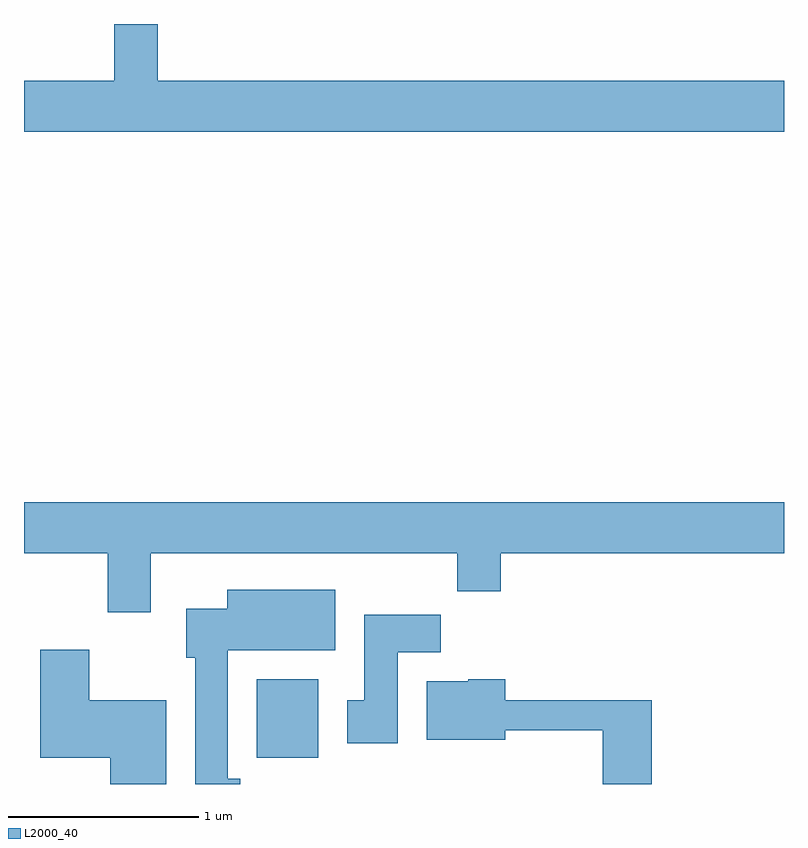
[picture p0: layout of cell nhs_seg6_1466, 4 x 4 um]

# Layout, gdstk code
import gdstk
lib = gdstk.Library(unit=1e-6, precision=1e-09)
def R(c, l, rs):  # rectangles x0, y0, x1, y1
    for r in rs: c.add(gdstk.rectangle(r[:2], r[2:], *l))
def P(c, l, *ps):  # polygons
    for p in ps: c.add(gdstk.Polygon(p, *l))
L2000_40 = (2000, 40)

nhs_seg6_1466 = lib.new_cell('nhs_seg6_1466')
R(nhs_seg6_1466, L2000_40, [(230.836,1542.301,231.159,1542.714)])
P(nhs_seg6_1466, L2000_40, [(233.611,1545.864),(230.314,1545.864),(230.314,1546.162),(230.086,1546.162),(230.086,1545.864),(229.611,1545.864),(229.611,1545.596),(233.611,1545.596)],
  [(230.279,1543.376),(231.891,1543.376),(231.891,1543.176),(232.119,1543.176),(232.119,1543.376),(233.611,1543.376),(233.611,1543.644),(229.611,1543.644),(229.611,1543.376),(230.051,1543.376),(230.051,1543.066),(230.279,1543.066)],
  [(230.748,1542.189),(230.684,1542.189),(230.684,1542.866),(231.249,1542.866),(231.249,1543.184),(230.681,1543.184),(230.681,1543.084),(230.466,1543.084),(230.466,1542.826),(230.511,1542.826),(230.511,1542.162),(230.748,1542.162)],
  [(231.579,1542.856),(231.804,1542.856),(231.804,1543.054),(231.401,1543.054),(231.401,1542.604),(231.311,1542.604),(231.311,1542.376),(231.579,1542.376)],
  [(230.359,1542.604),(229.954,1542.604),(229.954,1542.869),(229.696,1542.869),(229.696,1542.301),(230.066,1542.301),(230.066,1542.162),(230.359,1542.162)],
  [(232.914,1542.604),(232.144,1542.604),(232.144,1542.714),(231.95,1542.714),(231.95,1542.704),(231.731,1542.704),(231.731,1542.396),(232.144,1542.396),(232.144,1542.446),(232.656,1542.446),(232.656,1542.162),(232.914,1542.162)])

lib.write_gds('nhs_seg6_1466.gds')
